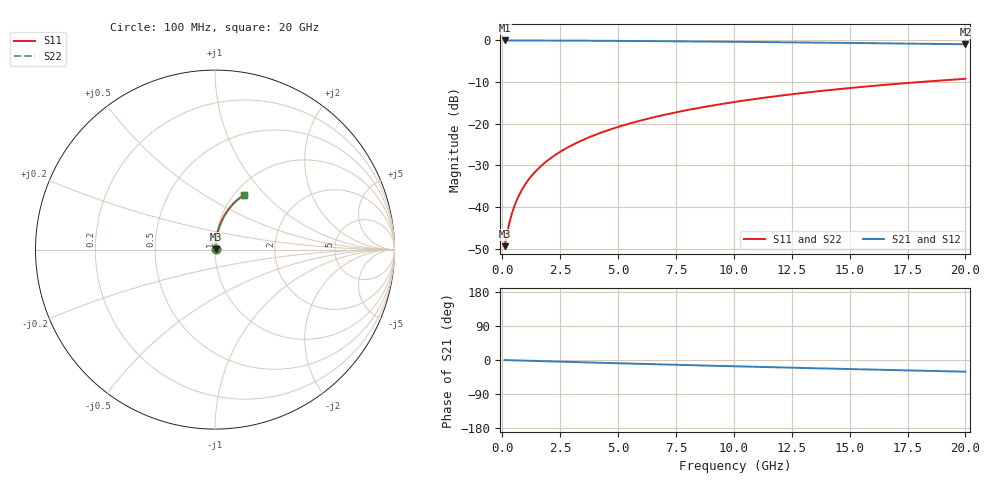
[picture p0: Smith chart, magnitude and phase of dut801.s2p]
! Touchstone file exported from HFSS 2024.1.0
!  File:  C:/UserFiles/LocalFiles/RDL_TSV_Batchsim/temp_RDL_bottom_801_1779861947.aedt
!  Generated:  02:08:17 PM May 27, 2026
!  Design:  RDL_bottom
!  Project:  temp_RDL_bottom_801_1779861947
!  Setup:  Setup1
!  Solution:  Sweep
! Variables:
!  dtsv = 10.80580581um
!  hbump = 3um
!  htsv = 54.11um
!  ldown = 414.43um
!  lrdl = 100um
!  p = 40
!  p1 = 40.97um
!  rhole = 1um
!  t = 450um
!  tdown = 4.15um
!  trdl = 3.915915916um
!  wdown = 13.12um
!  wrdl = 20um
# GHz S MA R 50.000000
! Terminal data exported
! Port[1] = RDL1_T1
! Port[2] = RDL1_T2
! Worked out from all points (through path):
!   200 points, 100 MHz to 20 GHz, reference 50 ohm
!   highest |S21| = -0.02 dB at 100 MHz (marker M1); lowest = -0.9 dB at 20 GHz (marker M2)
!   group delay of S21, straight-line fit = 4.27 ps
!   lowest |S11| = -49.4 dB at 100 MHz (marker M3), VSWR 1.01, Z = 50.3 + j0.193 ohm
!   |S11| at or under -10 dB: start of sweep to 18.04 GHz
!   |S22| runs from -49.4 to -9.2 dB; largest |S21 - S12| = 3.5e-15
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0.1  0.003394 34.5  0.9972 -0.2  0.9972 -0.2  0.003394 34.5
! Gamma 0 0 0 0
! Port Impedance 50 0 50 0
0.2  0.004736 53.8  0.9971 -0.4  0.9971 -0.4  0.00473 53.8
0.3  0.006359 63.7  0.997 -0.5  0.997 -0.5  0.006347 63.7
0.4  0.008087 69.3  0.9969 -0.7  0.9969 -0.7  0.008072 69.3
0.5  0.009862 72.8  0.9968 -0.9  0.9968 -0.9  0.009845 72.8
0.6  0.01166 75.1  0.9967 -1.1  0.9967 -1.1  0.01164 75.1
0.8  0.01527 78.0  0.9965 -1.4  0.9965 -1.4  0.01526 78.0
1.1  0.0207 80.2  0.9962 -1.9  0.9962 -1.9  0.02069 80.2
1.5  0.02793 81.6  0.9957 -2.6  0.9957 -2.6  0.02793 81.6
1.8  0.03335 82.2  0.9952 -3.2  0.9952 -3.2  0.03335 82.2
2.1  0.03878 82.5  0.9946 -3.7  0.9946 -3.7  0.03878 82.5
2.7  0.04964 82.7  0.9933 -4.7  0.9933 -4.7  0.04964 82.7
3.5  0.06416 82.5  0.991 -6.1  0.991 -6.1  0.06416 82.5
4.2  0.07688 82.1  0.9887 -7.3  0.9887 -7.3  0.07688 82.1
5  0.09144 81.4  0.9857 -8.6  0.9857 -8.6  0.09143 81.4
5.9  0.1078 80.5  0.9819 -10.1  0.9819 -10.1  0.1078 80.5
6.8  0.1242 79.6  0.9777 -11.5  0.9777 -11.5  0.1242 79.5
8.3  0.1513 77.8  0.9702 -13.9  0.9702 -13.9  0.1513 77.7
10.1  0.1836 75.5  0.9605 -16.7  0.9605 -16.7  0.1835 75.4
13.4  0.241 71.0  0.941 -21.6  0.941 -21.6  0.2409 71.0
16.7  0.2953 66.5  0.9199 -26.3  0.9199 -26.3  0.2952 66.5
20  0.3457 62.0  0.8979 -30.8  0.8979 -30.8  0.3456 62.0
